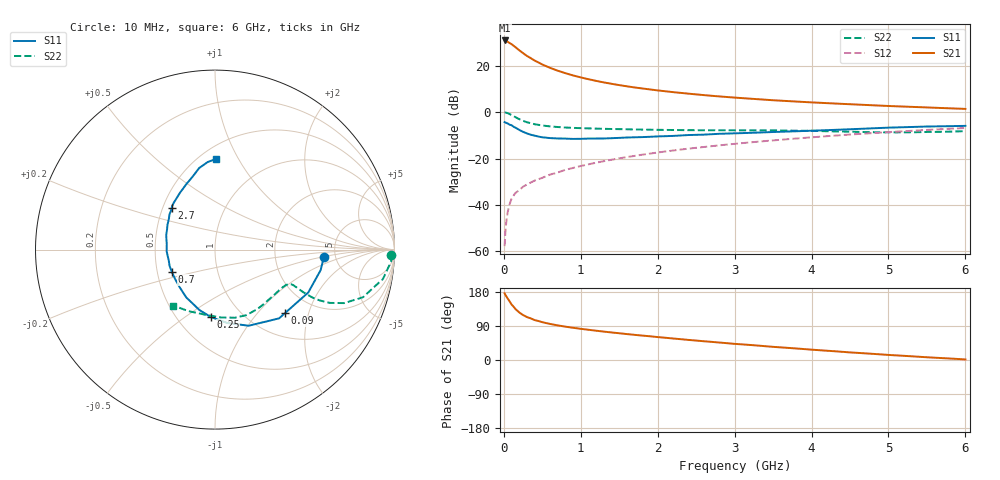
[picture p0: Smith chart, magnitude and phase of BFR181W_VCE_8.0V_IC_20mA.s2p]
! Infineon Technologies  Discrete & RF Semiconductors
! BFR181W
! VCE =  8.0 V,  IC =  20 mA
! Common Emitter S-Parameters:  Jan 2017
# GHz  S  MA  R  50
!  f  S11  S21  S12  S22
! GHz  MAG  ANG  MAG  ANG  MAG  ANG  MAG  ANG
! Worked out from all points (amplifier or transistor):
!   77 points, 10 MHz to 6 GHz, reference 50 ohm
!   highest |S21| = 30.8 dB at 10 MHz (marker M1)
!   |S21| within 3 dB of that: start of sweep to 155.1 MHz
!   unconditionally stable (mu >= 1): 806.5 MHz to 2.418 GHz
!   at 130 MHz: K = 0.39, MSG = 32.1 dB, |S12| = -35.8 dB
!   at 2.2 GHz: K = 1.02, MAG = 11.7 dB, |S12| = -16.5 dB
!   at 6 GHz: K = 0.82, MSG = 4.1 dB, |S12| = -6.8 dB
!   S11 on the Smith chart (normalised r, x): 10 MHz: 4.03, -0.52; 90 MHz: 1.45, -1.42; 250 MHz: 0.72, -0.63; 700 MHz: 0.60, -0.16; 2.7 GHz: 0.56, +0.29; 6 GHz: 0.60, +0.81
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0.01  0.6082 -3.8  34.85 176.0  0.0013 89.3  0.9816 -1.7
0.02  0.5996 -11.0  34.46 171.9  0.0026 99.0  0.9841 -3.8
0.05  0.5719 -24.7  32.8 162.0  0.007 78.2  0.9494 -10.0
0.09  0.5266 -42.3  29.62 149.9  0.0123 73.7  0.8819 -16.1
0.1  0.5237 -47.0  29.05 146.5  0.0136 73.1  0.8667 -17.8
0.15  0.464 -66.1  25.07 134.7  0.0181 68.6  0.7788 -22.5
0.2  0.4143 -80.6  21.43 125.5  0.0209 65.9  0.7053 -24.9
0.25  0.3759 -93.7  18.57 118.6  0.0248 64.7  0.6488 -25.9
0.3  0.3475 -104.5  16.2 113.3  0.0276 65.1  0.605 -26.2
0.4  0.3111 -120.9  12.87 105.4  0.0335 66.4  0.5486 -25.8
0.5  0.2871 -133.6  10.58 99.8  0.0385 67.2  0.5148 -25.2
0.6  0.276 -144.0  8.982 95.2  0.0451 68.8  0.4928 -24.7
0.7  0.2707 -152.8  7.788 91.4  0.0501 70.4  0.4773 -24.4
0.9  0.2647 -166.7  6.15 85.0  0.0628 71.7  0.458 -24.8
1.1  0.2693 -177.7  5.102 79.8  0.0751 72.4  0.4463 -26.0
1.5  0.2786 166.6  3.811 70.6  0.1011 72.6  0.4295 -29.9
2.1  0.3031 149.4  2.808 58.7  0.1419 70.7  0.4135 -38.8
2.7  0.334 136.4  2.248 47.9  0.1847 67.8  0.4069 -49.9
3.1  0.353 128.7  1.999 41.2  0.215 65.4  0.405 -57.3
4.1  0.403 112.3  1.589 25.9  0.2946 58.1  0.391 -75.9
5.1  0.4677 99.7  1.334 12.2  0.3791 49.1  0.3662 -101.7
6  0.5053 89.3  1.172 1.5  0.4554 39.9  0.3889 -126.7
